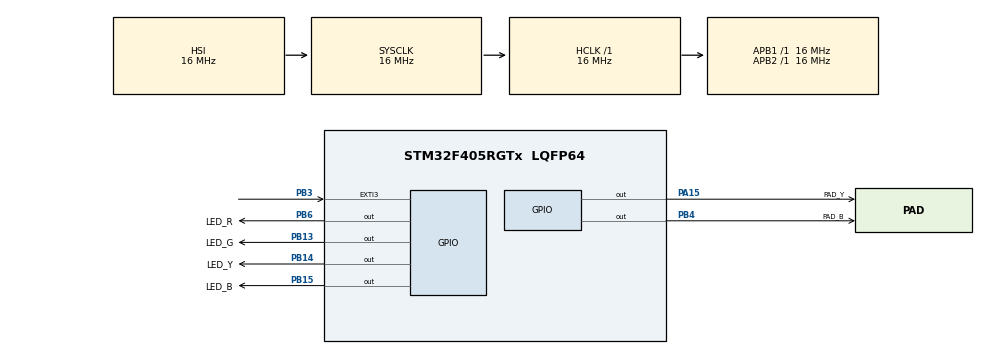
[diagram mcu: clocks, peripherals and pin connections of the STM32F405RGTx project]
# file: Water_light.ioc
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Mcu.Family=STM32F4
Mcu.Name=STM32F405RGTx
Mcu.Package=LQFP64
NVIC.EXTI3_IRQn=true\:0\:0\:false\:false\:true\:true\:true
NVIC.PriorityGroup=NVIC_PRIORITYGROUP_4
PA13.Mode=Serial_Wire
PA13.Signal=SYS_JTMS-SWDIO
PA14.Mode=Serial_Wire
PA14.Signal=SYS_JTCK-SWCLK
PA15.GPIO_Label=PAD_Y
PA15.Signal=GPIO_Output
PB13.GPIO_Label=LED_G
PB13.Signal=GPIO_Output
PB14.GPIO_Label=LED_Y
PB14.Signal=GPIO_Output
PB15.GPIO_Label=LED_B
PB15.Signal=GPIO_Output
PB3.GPIO_ModeDefaultEXTI=GPIO_MODE_IT_FALLING
PB3.Signal=GPXTI3
PB4.GPIO_Label=PAD_B
PB4.Signal=GPIO_Output
PB6.GPIO_Label=LED_R
PB6.Signal=GPIO_Output
ProjectManager.HeapSize=0x200
ProjectManager.StackSize=0x400
ProjectManager.TargetToolchain=EWARM V8
RCC.AHBFreq_Value=16000000
RCC.APB1Freq_Value=16000000
RCC.APB2Freq_Value=16000000
RCC.CortexFreq_Value=16000000
RCC.HSE_VALUE=25000000
RCC.HSI_VALUE=16000000
RCC.LSE_VALUE=32768
RCC.SYSCLKFreq_VALUE=16000000
RCC.VCOOutputFreq_Value=192000000
board=custom

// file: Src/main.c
/* USER CODE BEGIN Header */
/**
  ******************************************************************************
  * @file           : main.c
  * @brief          : Main program body
  ******************************************************************************
  * @attention
  *
  * <h2><center>&copy; Copyright (c) 2019 STMicroelectronics.
  * All rights reserved.</center></h2>
  *
  * This software component is licensed by ST under BSD 3-Clause license,
  * the "License"; You may not use this file except in compliance with the
  * License. You may obtain a copy of the License at:
  *                        opensource.org/licenses/BSD-3-Clause
  *
  ******************************************************************************
  */
/* USER CODE END Header */

#include "main.h"

/* USER CODE BEGIN PD */
#define GPIO_MODE             0x00000003U
#define GPIO_OUTPUT_TYPE      0x00000010U
/* USER CODE END PD */

/* USER CODE BEGIN PV */
uint8_t i = 0;
/* USER CODE END PV */

void SystemClock_Config(void);

int main(void)
{
  /* USER CODE BEGIN 1 */
	uint32_t temp = 0x00U;
  /* USER CODE END 1 */

  /* MCU Configuration--------------------------------------------------------*/

  /* Reset of all peripherals, Initializes the Flash interface and the Systick. */
  HAL_Init();

  /* Configure the system clock */
  SystemClock_Config();

  /* USER CODE BEGIN 2 */
	RCC->AHB1ENR |= RCC_AHB1ENR_GPIOBEN;

	/*--------------------- GPIO Mode Configuration ------------------------*/

	/* Configure IO Direction mode (Input, Output, Alternate or Analog) */
	temp = GPIOB->MODER;
	temp &= ~(GPIO_MODER_MODER0 << (4 * 2U));
	temp |= ((GPIO_MODE_OUTPUT_PP & GPIO_MODE) << (4 * 2U));//设置PIN4推挽输出
	GPIOB->MODER = temp;

	/* In case of Output or Alternate function mode selection */
	/* Configure the IO Speed */
	temp = GPIOB->OSPEEDR;
	temp &= ~(GPIO_OSPEEDER_OSPEEDR0 << (4 * 2U));
	temp |= (GPIO_SPEED_FREQ_LOW << (4 * 2U));//设置PIN4低速率输出
	GPIOB->OSPEEDR = temp;

	/* Configure the IO Output Type */
	temp = GPIOB->OTYPER;
	temp &= ~(GPIO_OTYPER_OT_0 << 4) ;
	temp |= (((GPIO_MODE_OUTPUT_PP & GPIO_OUTPUT_TYPE) >> 4U) << 4);//设置PIN4输出模式
	GPIOB->OTYPER = temp;

	/* Activate the Pull-up or Pull down resistor for the current IO */
	temp = GPIOB->PUPDR;
	temp &= ~(GPIO_PUPDR_PUPDR0 << (4 * 2U));
	temp |= ((GPIO_NOPULL) << (4 * 2U));//设置PIN4无上拉模式
	GPIOB->PUPDR = temp;

  /* USER CODE END 2 */

  /* Infinite loop */
  /* USER CODE BEGIN WHILE */
  while (1)
  {
		GPIOB->BSRR = PAD_B_Pin;
		HAL_Delay(250);
		GPIOB->BSRR = (uint32_t)PAD_B_Pin << 16U;
		HAL_Delay(250);

    /* USER CODE END WHILE */

  }
}

void SystemClock_Config(void)
{
  RCC_OscInitTypeDef RCC_OscInitStruct = {0};
  RCC_ClkInitTypeDef RCC_ClkInitStruct = {0};

  /** Configure the main internal regulator output voltage
  */
  __HAL_RCC_PWR_CLK_ENABLE();
  __HAL_PWR_VOLTAGESCALING_CONFIG(PWR_REGULATOR_VOLTAGE_SCALE1);
  /** Initializes the CPU, AHB and APB busses clocks
  */
  RCC_OscInitStruct.OscillatorType = RCC_OSCILLATORTYPE_HSI;
  RCC_OscInitStruct.HSIState = RCC_HSI_ON;
  RCC_OscInitStruct.HSICalibrationValue = RCC_HSICALIBRATION_DEFAULT;
  RCC_OscInitStruct.PLL.PLLState = RCC_PLL_NONE;
  if (HAL_RCC_OscConfig(&RCC_OscInitStruct) != HAL_OK)
  {
    Error_Handler();
  }
  /** Initializes the CPU, AHB and APB busses clocks
  */
  RCC_ClkInitStruct.ClockType = RCC_CLOCKTYPE_HCLK|RCC_CLOCKTYPE_SYSCLK
                              |RCC_CLOCKTYPE_PCLK1|RCC_CLOCKTYPE_PCLK2;
  RCC_ClkInitStruct.SYSCLKSource = RCC_SYSCLKSOURCE_HSI;
  RCC_ClkInitStruct.AHBCLKDivider = RCC_SYSCLK_DIV1;
  RCC_ClkInitStruct.APB1CLKDivider = RCC_HCLK_DIV1;
  RCC_ClkInitStruct.APB2CLKDivider = RCC_HCLK_DIV1;

  if (HAL_RCC_ClockConfig(&RCC_ClkInitStruct, FLASH_LATENCY_0) != HAL_OK)
  {
    Error_Handler();
  }
}

void Error_Handler(void)
{
}

/************************ (C) COPYRIGHT STMicroelectronics *****END OF FILE****/
